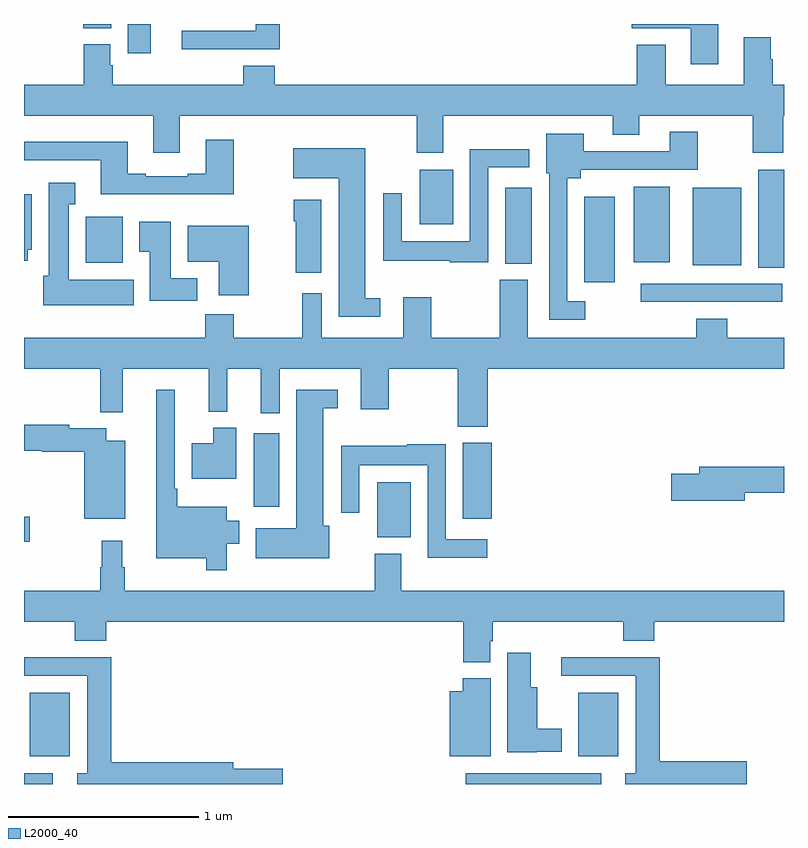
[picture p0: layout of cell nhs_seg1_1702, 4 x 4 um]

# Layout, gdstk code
import gdstk
lib = gdstk.Library(unit=1e-6, precision=1e-09)
def R(c, l, rs):  # rectangles x0, y0, x1, y1
    for r in rs: c.add(gdstk.rectangle(r[:2], r[2:], *l))
def P(c, l, *ps):  # polygons
    for p in ps: c.add(gdstk.Polygon(p, *l))
L2000_40 = (2000, 40)

nhs_seg1_1702 = lib.new_cell('nhs_seg1_1702')
R(nhs_seg1_1702, L2000_40, [(203,564.199,203.152,564.255), (205.325,564.199,206.038,564.255), (203.03,564.344,203.242,564.679), (205.916,564.344,206.128,564.679), (203,565.475,203.029,565.605), (204.86,565.499,205.036,565.786), (205.31,565.596,205.463,565.995), (204.209,565.659,204.343,566.044), (206.247,566.736,206.992,566.832), (205.949,566.841,206.11,567.289), (206.864,566.917,207,567.433), (206.519,566.93,206.776,567.337), (205.532,566.938,205.672,567.337), (203.324,566.942,203.521,567.184), (206.21,566.945,206.398,567.343), (205.082,567.146,205.258,567.433), (203.546,568.044,203.668,568.199), (203.312,568.177,203.458,568.199)])
P(nhs_seg1_1702, L2000_40, [(206.653,568.199),(206.198,568.199),(206.198,568.176),(206.51,568.176),(206.51,567.987),(206.653,567.987)],
  [(204.347,568.199),(204.221,568.199),(204.221,568.164),(203.829,568.164),(203.829,568.067),(204.347,568.067)],
  [(203.821,567.716),(205.067,567.716),(205.067,567.522),(205.207,567.522),(205.207,567.716),(206.099,567.716),(206.099,567.617),(206.239,567.617),(206.239,567.716),(206.836,567.716),(206.836,567.522),(206.996,567.522),(206.996,567.716),(207,567.716),(207,567.88),(206.942,567.88),(206.942,568.013),(206.929,568.013),(206.929,568.129),(206.789,568.129),(206.789,567.88),(206.377,567.88),(206.377,568.091),(206.225,568.091),(206.225,567.88),(204.32,567.88),(204.32,567.979),(204.155,567.979),(204.155,567.88),(203.468,567.88),(203.468,567.981),(203.455,567.981),(203.455,568.092),(203.315,568.092),(203.315,567.88),(203,567.88),(203,567.716),(203.681,567.716),(203.681,567.522),(203.821,567.522)],
  [(205.954,566.739),(205.86,566.739),(205.86,567.386),(205.93,567.386),(205.93,567.432),(206.547,567.432),(206.547,567.631),(206.399,567.631),(206.399,567.528),(205.945,567.528),(205.945,567.622),(205.748,567.622),(205.748,567.414),(205.764,567.414),(205.764,566.643),(205.954,566.643)],
  [(204.105,567.589),(203.957,567.589),(203.957,567.412),(203.861,567.412),(203.861,567.399),(203.641,567.399),(203.641,567.412),(203.545,567.412),(203.545,567.58),(203,567.58),(203,567.483),(203.405,567.483),(203.405,567.302),(204.105,567.302)],
  [(204.874,566.756),(204.796,566.756),(204.796,567.544),(204.416,567.544),(204.416,567.386),(204.656,567.386),(204.656,566.658),(204.874,566.658)],
  [(205.443,567.444),(205.66,567.444),(205.66,567.541),(205.347,567.541),(205.347,567.055),(204.987,567.055),(204.987,567.307),(204.891,567.307),(204.891,566.954),(205.24,566.954),(205.24,566.944),(205.443,566.944)],
  [(203.578,566.854),(203.236,566.854),(203.236,567.251),(203.269,567.251),(203.269,567.364),(203.129,567.364),(203.129,566.874),(203.102,566.874),(203.102,566.72),(203.578,566.72)],
  [(203.02,567.012),(203.041,567.012),(203.041,567.304),(203,567.304),(203,566.952),(203.02,566.952)],
  [(204.565,567.274),(204.419,567.274),(204.419,567.161),(204.431,567.161),(204.431,566.889),(204.565,566.889)],
  [(203.912,566.86),(203.773,566.86),(203.773,567.157),(203.606,567.157),(203.606,567.001),(203.663,567.001),(203.663,566.742),(203.912,566.742)],
  [(204.184,567.136),(203.861,567.136),(203.861,566.948),(204.026,566.948),(204.026,566.772),(204.184,566.772)],
  [(205.442,566.384),(207,566.384),(207,566.548),(206.702,566.548),(206.702,566.647),(206.537,566.647),(206.537,566.548),(205.651,566.548),(205.651,566.853),(205.504,566.853),(205.504,566.548),(205.143,566.548),(205.143,566.761),(204.995,566.761),(204.995,566.548),(204.568,566.548),(204.568,566.782),(204.465,566.782),(204.465,566.548),(204.105,566.548),(204.105,566.672),(203.953,566.672),(203.953,566.548),(203,566.548),(203,566.384),(203.401,566.384),(203.401,566.156),(203.519,566.156),(203.519,566.384),(203.972,566.384),(203.972,566.159),(204.07,566.159),(204.07,566.384),(204.245,566.384),(204.245,566.151),(204.346,566.151),(204.346,566.384),(204.773,566.384),(204.773,566.172),(204.921,566.172),(204.921,566.384),(205.282,566.384),(205.282,566.08),(205.442,566.08)],
  [(204.067,565.463),(204.133,565.463),(204.133,565.585),(204.067,565.585),(204.067,565.657),(203.806,565.657),(203.806,565.753),(203.793,565.753),(203.793,566.275),(203.696,566.275),(203.696,565.388),(203.958,565.388),(203.958,565.323),(204.067,565.323)],
  [(204.607,565.559),(204.574,565.559),(204.574,566.177),(204.652,566.177),(204.652,566.274),(204.434,566.274),(204.434,565.546),(204.219,565.546),(204.219,565.388),(204.607,565.388)],
  [(203.533,566.005),(203.434,566.005),(203.434,566.071),(203.238,566.071),(203.238,566.091),(203,566.091),(203,565.954),(203.094,565.954),(203.094,565.949),(203.318,565.949),(203.318,565.595),(203.533,565.595)],
  [(204.118,566.074),(203.996,566.074),(203.996,565.993),(203.882,565.993),(203.882,565.805),(204.118,565.805)],
  [(205.438,565.488),(205.221,565.488),(205.221,565.988),(205.018,565.988),(205.018,565.978),(204.669,565.978),(204.669,565.626),(204.765,565.626),(204.765,565.877),(205.125,565.877),(205.125,565.391),(205.438,565.391)],
  [(206.794,565.732),(207,565.732),(207,565.868),(206.555,565.868),(206.555,565.832),(206.406,565.832),(206.406,565.69),(206.794,565.69)],
  [(205.453,564.951),(205.466,564.951),(205.466,565.052),(206.153,565.052),(206.153,564.953),(206.318,564.953),(206.318,565.052),(207,565.052),(207,565.216),(204.985,565.216),(204.985,565.411),(204.845,565.411),(204.845,565.216),(203.53,565.216),(203.53,565.34),(203.518,565.34),(203.518,565.48),(203.409,565.48),(203.409,565.34),(203.401,565.34),(203.401,565.216),(203,565.216),(203,565.052),(203.267,565.052),(203.267,564.953),(203.432,564.953),(203.432,565.052),(205.313,565.052),(205.313,564.841),(205.453,564.841)],
  [(205.698,564.368),(205.831,564.368),(205.831,564.49),(205.702,564.49),(205.702,564.709),(205.666,564.709),(205.666,564.889),(205.544,564.889),(205.544,564.365),(205.698,564.365)],
  [(204.361,564.278),(204.1,564.278),(204.1,564.314),(203.459,564.314),(203.459,564.866),(203,564.866),(203,564.768),(203.333,564.768),(203.333,564.256),(203.279,564.256),(203.279,564.199),(204.361,564.199)],
  [(206.803,564.32),(206.345,564.32),(206.345,564.866),(205.827,564.866),(205.827,564.768),(206.219,564.768),(206.219,564.256),(206.165,564.256),(206.165,564.199),(206.803,564.199)],
  [(205.456,564.756),(205.31,564.756),(205.31,564.688),(205.241,564.688),(205.241,564.344),(205.456,564.344)])

lib.write_gds('nhs_seg1_1702.gds')
